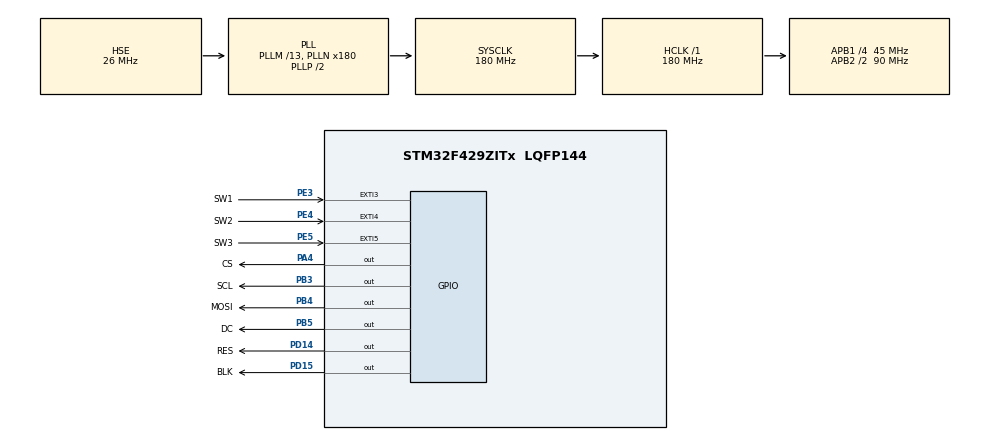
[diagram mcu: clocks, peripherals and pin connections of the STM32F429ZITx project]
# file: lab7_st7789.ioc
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FREERTOS.Tasks01=defaultTask,24,128,StartDefaultTask,Default,NULL,Dynamic,NULL,NULL
Mcu.Family=STM32F4
Mcu.Name=STM32F429ZITx
Mcu.Package=LQFP144
NVIC.EXTI3_IRQn=true\:5\:0\:false\:false\:true\:true\:true\:true\:true
NVIC.EXTI4_IRQn=true\:5\:0\:false\:false\:true\:true\:true\:true\:true
NVIC.EXTI9_5_IRQn=true\:5\:0\:false\:false\:true\:true\:true\:true\:true
NVIC.PriorityGroup=NVIC_PRIORITYGROUP_4
PA13.Mode=Serial_Wire
PA13.Signal=SYS_JTMS-SWDIO
PA14.Mode=Serial_Wire
PA14.Signal=SYS_JTCK-SWCLK
PA4.GPIO_Label=CS
PA4.Signal=GPIO_Output
PB3.GPIO_Label=SCL
PB3.Signal=GPIO_Output
PB4.GPIO_Label=MOSI
PB4.Signal=GPIO_Output
PB5.GPIO_Label=DC
PB5.Signal=GPIO_Output
PC14/OSC32_IN.Mode=LSE-External-Oscillator
PC14/OSC32_IN.Signal=RCC_OSC32_IN
PC15/OSC32_OUT.Mode=LSE-External-Oscillator
PC15/OSC32_OUT.Signal=RCC_OSC32_OUT
PD14.GPIO_Label=RES
PD14.Signal=GPIO_Output
PD15.GPIO_Label=BLK
PD15.Signal=GPIO_Output
PE3.GPIO_Label=SW1
PE3.Signal=GPXTI3
PE4.GPIO_Label=SW2
PE4.Signal=GPXTI4
PE5.GPIO_Label=SW3
PE5.Signal=GPXTI5
PH0/OSC_IN.Mode=HSE-External-Oscillator
PH0/OSC_IN.Signal=RCC_OSC_IN
PH1/OSC_OUT.Mode=HSE-External-Oscillator
PH1/OSC_OUT.Signal=RCC_OSC_OUT
ProjectManager.HeapSize=0x200
ProjectManager.StackSize=0x400
ProjectManager.TargetToolchain=MDK-ARM V5.32
RCC.48MHZClocksFreq_Value=51428571.428571425
RCC.AHBFreq_Value=180000000
RCC.APB1CLKDivider=RCC_HCLK_DIV4
RCC.APB1Freq_Value=45000000
RCC.APB1TimFreq_Value=90000000
RCC.APB2CLKDivider=RCC_HCLK_DIV2
RCC.APB2Freq_Value=90000000
RCC.APB2TimFreq_Value=180000000
RCC.CortexFreq_Value=180000000
RCC.HCLKFreq_Value=180000000
RCC.HSE_VALUE=26000000
RCC.HSI_VALUE=16000000
RCC.PLLM=13
RCC.PLLMUL=RCC_PLL_MUL9
RCC.PLLN=180
RCC.PLLQ=7
RCC.PLLSourceVirtual=RCC_PLLSOURCE_HSE
RCC.PRESCALERUSB=RCC_USBCLKSOURCE_PLL_DIV1_5
RCC.SYSCLKFreq_VALUE=180000000
RCC.SYSCLKSource=RCC_SYSCLKSOURCE_PLLCLK
RCC.SYSCLKSourceVirtual=RCC_SYSCLKSOURCE_PLLCLK
RCC.USBFreq_Value=48000000
RCC.VCOOutputFreq_Value=360000000
VP_FREERTOS_VS_CMSIS_V2.Mode=CMSIS_V2
board=NUCLEO-F429ZI

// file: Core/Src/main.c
/* USER CODE BEGIN Header */
/**
  ******************************************************************************
  * @file           : main.c
  * @brief          : Main program body
  ******************************************************************************
  * @attention
  *
  * Copyright (c) 2024 STMicroelectronics.
  * All rights reserved.
  *
  * This software is licensed under terms that can be found in the LICENSE file
  * in the root directory of this software component.
  * If no LICENSE file comes with this software, it is provided AS-IS.
  *
  ******************************************************************************
  */
/* USER CODE END Header */
#include "main.h"
#include "cmsis_os.h"
#include "gpio.h"

/* USER CODE BEGIN Includes */
#include "FreeRTOS.h"
#include "queue.h"
#include "task.h"
#include "lcd.h"
#include "lcd_init.h"
#include "image.h"
#include "image2.h"
#include "image3.h"
#include "image4.h"
#include "image5.h"
#include "images1.h"
#include "images2.h"
#include "images3.h"

/* USER CODE END Includes */

/* USER CODE BEGIN PV */
QueueHandle_t queueSwitch;
TaskHandle_t handleST7789;
/* USER CODE END PV */

void SystemClock_Config(void);
void MX_FREERTOS_Init(void);

/* USER CODE BEGIN 0 */
void taskST7789(void *pvParm){
	uint8_t select = 0;
	uint8_t stop = 0;
	uint8_t currentImageIndex = 0;

	while(1){
		xQueueReceiveFromISR(queueSwitch, &select, NULL);

		switch(select){
			case 0:
			{
				/*LCD_ShowPicture(0,0,240,240, gImage_image_3);
				LCD_ShowPicture(0,0,240,240, gImage_image_4);
				LCD_ShowPicture(0,0,240,240, gImage_image_5);*/
				uint8_t msg[] = "B10913154";

				LCD_Fill(0, 0, 240, 240, WHITE);
				LCD_ShowString(10, 30, msg, BLACK, WHITE, 32, 1);
				//vTaskDelay(500);
				break;
			}

			case 1:
			{
				LCD_ShowPicture(0,0,240,240,gImage_images1);
				currentImageIndex = 1;
				if(stop == 2){
					select = 1;
				}
				else{
					select = 2;
				}

				vTaskDelay(500);
				break;
			}
			case 2:
			{
				LCD_ShowPicture(0,0,240,240, gImage_images2);
				currentImageIndex = 2;
				if(stop== 3){
					select = 2;
				}
				else{
					select = 3;
				}

				vTaskDelay(500);
				break;
			}
			case 3:
			{
				LCD_ShowPicture(0,0,240,240, gImage_images3);
				currentImageIndex = 3;
				if(stop==1){
					select = 3;
				}
				else{
					select = 1;
				}
				vTaskDelay(500);
				break;
			}
			case 4:
			{
				switch(currentImageIndex){
					case 1:
					{
						select = 3;
						stop = 1;
						break;
					}
					case 2:
					{
						select = 1;
						stop = 2;
						break;
					}
					case 3:
					{
						select = 2;
						stop = 3;
						break;
					}
				}
				break;
			}
			case 5:
			{
				switch(currentImageIndex){
					case 1:
					{
						select = 2;
						stop = 3;
						break;
					}
					case 2:
					{
						select = 3;
						stop = 1;
						break;
					}
					case 3:
					{
						select = 1;
						stop = 2;
						break;
					}
				}
				break;
			}
		}

	}
}
void HAL_GPIO_EXTI_Callback(uint16_t GPIO_Pin){
	uint8_t mode = 0;

	switch(GPIO_Pin){
		//sw1 PE3
		case GPIO_PIN_3:
		{
			if(HAL_GPIO_ReadPin(SW1_GPIO_Port, SW1_Pin) == 1){
				mode = 1;
				//printf("display mode:default \r\n");
				xQueueSendFromISR(queueSwitch, &mode, NULL);
			}
			break;
		}

		//sw2 PE4
		case GPIO_PIN_4:
		{
			if(HAL_GPIO_ReadPin(SW2_GPIO_Port, SW2_Pin) == 1){
				mode = 4;
				//printf("display mode:student id \r\n");
				xQueueSendFromISR(queueSwitch, &mode, NULL);
			}
			break;
		}
		case GPIO_PIN_5: //sw3 PE5
		{
			if(HAL_GPIO_ReadPin(SW3_GPIO_Port, SW3_Pin) ==0){
			mode = 5;
			//printf("display mode:system startup timer \r\n");
			xQueueSendFromISR(queueSwitch, &mode, NULL); }
			break;
		}

		default:
			mode = 0;
			xQueueSendFromISR(queueSwitch, &mode, NULL);
			//printf("unknown irq happend \r\n");
			break;
	}
}
/* USER CODE END 0 */

int main(void)
{

  /* MCU Configuration--------------------------------------------------------*/

  /* Reset of all peripherals, Initializes the Flash interface and the Systick. */
  HAL_Init();

  /* Configure the system clock */
  SystemClock_Config();

  /* Initialize all configured peripherals */
  MX_GPIO_Init();
  /* USER CODE BEGIN 2 */
	LCD_Init();
	LCD_CS_Clr();
	LCD_Address_Set(0,0,240,240);

	xTaskCreate(taskST7789, "LCD Display", 512, NULL, 1, &handleST7789);
	queueSwitch = xQueueCreate(3, sizeof(uint8_t));
	vTaskStartScheduler();
  /* USER CODE END 2 */

  /* Init scheduler */
  osKernelInitialize();  /* Call init function for freertos objects (in freertos.c) */
  MX_FREERTOS_Init();

  /* Start scheduler */
  osKernelStart();

  /* We should never get here as control is now taken by the scheduler */
  /* Infinite loop */
  while (1)
  {

  }
}

void SystemClock_Config(void)
{
  RCC_OscInitTypeDef RCC_OscInitStruct = {0};
  RCC_ClkInitTypeDef RCC_ClkInitStruct = {0};

  /** Configure the main internal regulator output voltage
  */
  __HAL_RCC_PWR_CLK_ENABLE();
  __HAL_PWR_VOLTAGESCALING_CONFIG(PWR_REGULATOR_VOLTAGE_SCALE1);

  /** Initializes the RCC Oscillators according to the specified parameters
  * in the RCC_OscInitTypeDef structure.
  */
  RCC_OscInitStruct.OscillatorType = RCC_OSCILLATORTYPE_HSE;
  RCC_OscInitStruct.HSEState = RCC_HSE_ON;
  RCC_OscInitStruct.PLL.PLLState = RCC_PLL_ON;
  RCC_OscInitStruct.PLL.PLLSource = RCC_PLLSOURCE_HSE;
  RCC_OscInitStruct.PLL.PLLM = 13;
  RCC_OscInitStruct.PLL.PLLN = 180;
  RCC_OscInitStruct.PLL.PLLP = RCC_PLLP_DIV2;
  RCC_OscInitStruct.PLL.PLLQ = 7;
  if (HAL_RCC_OscConfig(&RCC_OscInitStruct) != HAL_OK)
  {
    Error_Handler();
  }

  /** Activate the Over-Drive mode
  */
  if (HAL_PWREx_EnableOverDrive() != HAL_OK)
  {
    Error_Handler();
  }

  /** Initializes the CPU, AHB and APB buses clocks
  */
  RCC_ClkInitStruct.ClockType = RCC_CLOCKTYPE_HCLK|RCC_CLOCKTYPE_SYSCLK
                              |RCC_CLOCKTYPE_PCLK1|RCC_CLOCKTYPE_PCLK2;
  RCC_ClkInitStruct.SYSCLKSource = RCC_SYSCLKSOURCE_PLLCLK;
  RCC_ClkInitStruct.AHBCLKDivider = RCC_SYSCLK_DIV1;
  RCC_ClkInitStruct.APB1CLKDivider = RCC_HCLK_DIV4;
  RCC_ClkInitStruct.APB2CLKDivider = RCC_HCLK_DIV2;

  if (HAL_RCC_ClockConfig(&RCC_ClkInitStruct, FLASH_LATENCY_5) != HAL_OK)
  {
    Error_Handler();
  }
}

void Error_Handler(void)
{
  __disable_irq();
  while (1)
  {
  }
}
